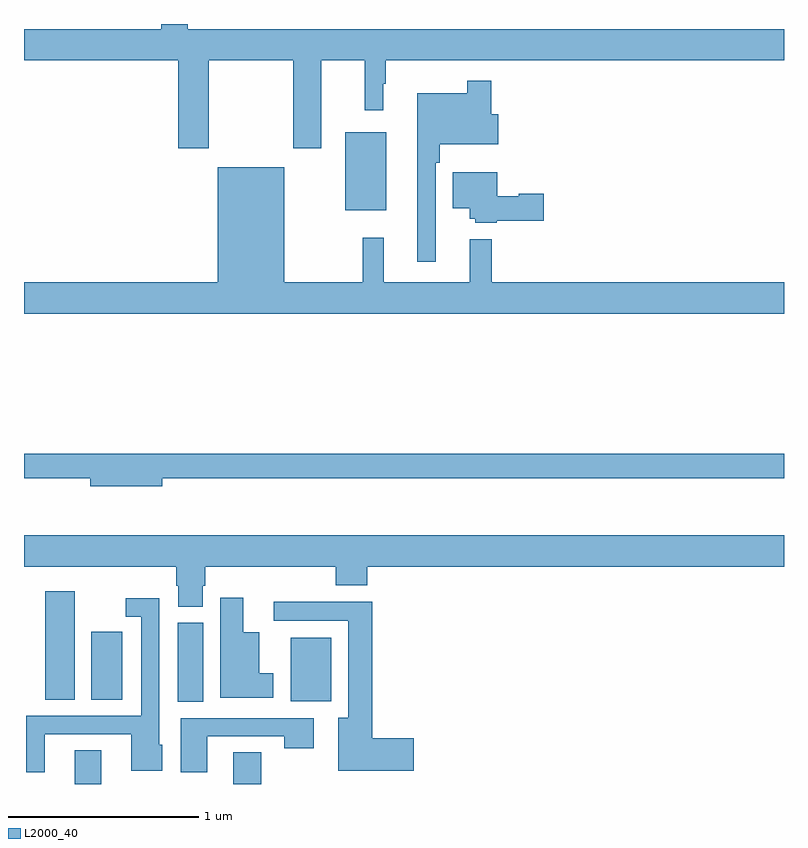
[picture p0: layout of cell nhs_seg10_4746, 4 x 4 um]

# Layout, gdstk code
import gdstk
lib = gdstk.Library(unit=1e-6, precision=1e-09)
def R(c, l, rs):  # rectangles x0, y0, x1, y1
    for r in rs: c.add(gdstk.rectangle(r[:2], r[2:], *l))
def P(c, l, *ps):  # polygons
    for p in ps: c.add(gdstk.Polygon(p, *l))
L2000_40 = (2000, 40)

nhs_seg10_4746 = lib.new_cell('nhs_seg10_4746')
R(nhs_seg10_4746, L2000_40, [(383.267,1304.5,383.407,1304.678), (384.101,1304.5,384.249,1304.666), (383.81,1304.932,383.944,1305.348), (384.404,1304.936,384.616,1305.271), (383.111,1304.944,383.266,1305.514), (383.354,1304.944,383.518,1305.301), (384.692,1307.519,384.907,1307.929)])
P(nhs_seg10_4746, L2000_40, [(383.973,1308.308),(384.418,1308.308),(384.418,1307.847),(384.565,1307.847),(384.565,1308.308),(384.793,1308.308),(384.793,1308.045),(384.892,1308.045),(384.892,1308.185),(384.904,1308.185),(384.904,1308.308),(387,1308.308),(387,1308.472),(383.863,1308.472),(383.863,1308.5),(383.723,1308.5),(383.723,1308.472),(383,1308.472),(383,1308.308),(383.813,1308.308),(383.813,1307.847),(383.973,1307.847)],
  [(385.167,1307.771),(385.187,1307.771),(385.187,1307.867),(385.495,1307.867),(385.495,1308.025),(385.46,1308.025),(385.46,1308.202),(385.332,1308.202),(385.332,1308.136),(385.07,1308.136),(385.07,1307.25),(385.167,1307.25)],
  [(387,1307.14),(385.463,1307.14),(385.463,1307.368),(385.346,1307.368),(385.346,1307.14),(384.893,1307.14),(384.893,1307.374),(384.783,1307.374),(384.783,1307.14),(384.37,1307.14),(384.37,1307.746),(384.02,1307.746),(384.02,1307.14),(383,1307.14),(383,1306.976),(387,1306.976)],
  [(385.488,1307.464),(385.735,1307.464),(385.735,1307.606),(385.605,1307.606),(385.605,1307.593),(385.492,1307.593),(385.492,1307.719),(385.256,1307.719),(385.256,1307.531),(385.346,1307.531),(385.346,1307.475),(385.374,1307.475),(385.374,1307.453),(385.488,1307.453)],
  [(383.728,1306.11),(387,1306.11),(387,1306.238),(383,1306.238),(383,1306.11),(383.348,1306.11),(383.348,1306.067),(383.728,1306.067)],
  [(383.941,1305.543),(383.954,1305.543),(383.954,1305.644),(384.641,1305.644),(384.641,1305.545),(384.806,1305.545),(384.806,1305.644),(387,1305.644),(387,1305.808),(383,1305.808),(383,1305.644),(383.801,1305.644),(383.801,1305.543),(383.813,1305.543),(383.813,1305.433),(383.941,1305.433)],
  [(384.313,1305.082),(384.238,1305.082),(384.238,1305.298),(384.154,1305.298),(384.154,1305.481),(384.032,1305.481),(384.032,1304.954),(384.313,1304.954)],
  [(383.11,1304.763),(383.564,1304.763),(383.564,1304.57),(383.728,1304.57),(383.728,1304.706),(383.712,1304.706),(383.712,1305.478),(383.535,1305.478),(383.535,1305.381),(383.616,1305.381),(383.616,1304.859),(383.012,1304.859),(383.012,1304.562),(383.11,1304.562)],
  [(385.051,1304.741),(384.833,1304.741),(384.833,1305.458),(384.315,1305.458),(384.315,1305.36),(384.707,1305.36),(384.707,1304.848),(384.653,1304.848),(384.653,1304.57),(385.051,1304.57)],
  [(383.965,1304.751),(384.37,1304.751),(384.37,1304.688),(384.526,1304.688),(384.526,1304.847),(383.825,1304.847),(383.825,1304.562),(383.965,1304.562)])

lib.write_gds('nhs_seg10_4746.gds')
